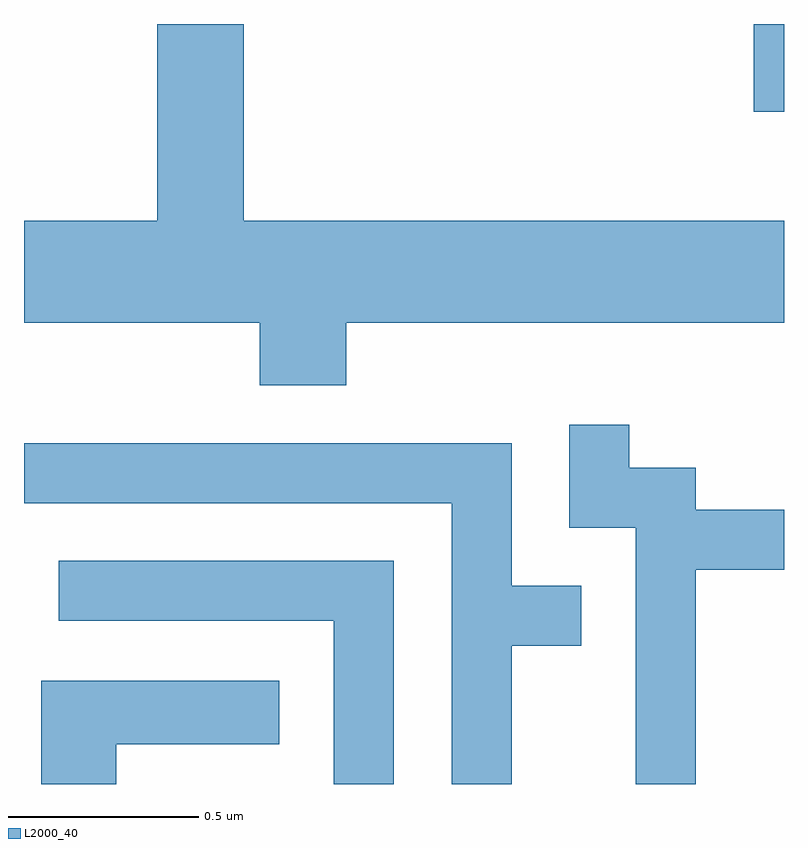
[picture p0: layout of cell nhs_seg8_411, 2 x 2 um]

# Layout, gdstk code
import gdstk
lib = gdstk.Library(unit=1e-6, precision=1e-09)
def R(c, l, rs):  # rectangles x0, y0, x1, y1
    for r in rs: c.add(gdstk.rectangle(r[:2], r[2:], *l))
def P(c, l, *ps):  # polygons
    for p in ps: c.add(gdstk.Polygon(p, *l))
L2000_40 = (2000, 40)

nhs_seg8_411 = lib.new_cell('nhs_seg8_411')
R(nhs_seg8_411, L2000_40, [(190.531,1808.111,190.611,1808.342)])
P(nhs_seg8_411, L2000_40, [(189.459,1807.556),(190.611,1807.556),(190.611,1807.824),(189.189,1807.824),(189.189,1808.342),(188.961,1808.342),(188.961,1807.824),(188.611,1807.824),(188.611,1807.556),(189.231,1807.556),(189.231,1807.391),(189.459,1807.391)],
  [(190.379,1806.906),(190.611,1806.906),(190.611,1807.064),(190.379,1807.064),(190.379,1807.174),(190.204,1807.174),(190.204,1807.288),(190.046,1807.288),(190.046,1807.016),(190.221,1807.016),(190.221,1806.342),(190.379,1806.342)],
  [(189.894,1806.706),(190.078,1806.706),(190.078,1806.864),(189.894,1806.864),(189.894,1807.239),(188.611,1807.239),(188.611,1807.081),(189.736,1807.081),(189.736,1806.342),(189.894,1806.342)],
  [(189.584,1806.929),(188.703,1806.929),(188.703,1806.771),(189.426,1806.771),(189.426,1806.342),(189.584,1806.342)],
  [(188.854,1806.446),(189.283,1806.446),(189.283,1806.614),(188.656,1806.614),(188.656,1806.342),(188.854,1806.342)])

lib.write_gds('nhs_seg8_411.gds')
